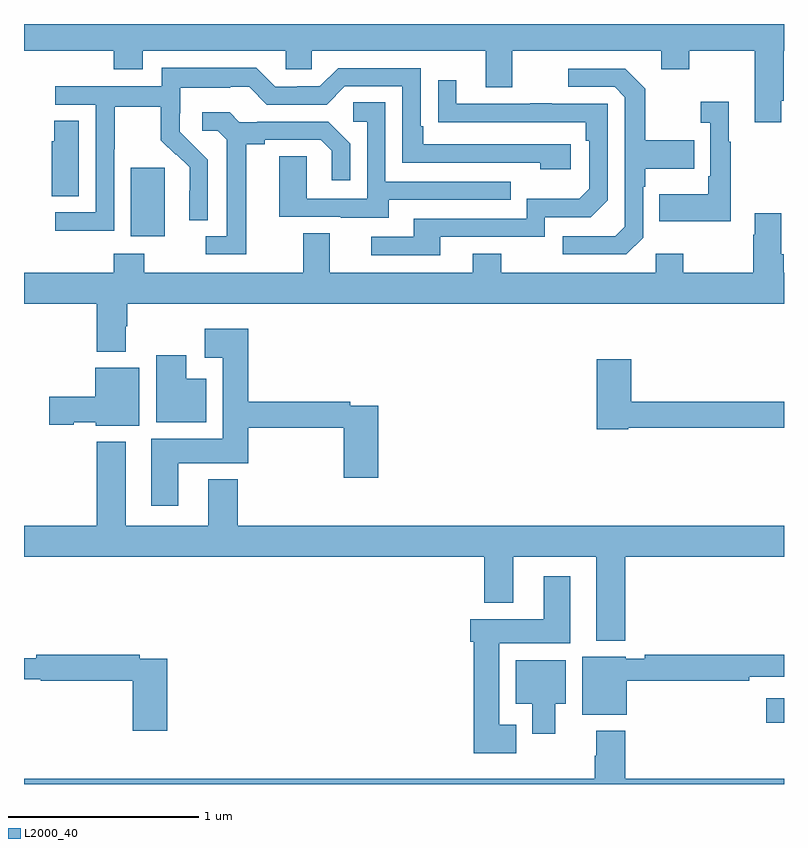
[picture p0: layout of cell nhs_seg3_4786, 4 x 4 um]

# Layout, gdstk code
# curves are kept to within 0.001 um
import gdstk
lib = gdstk.Library(unit=1e-6, precision=1e-09)
def R(c, l, rs):  # rectangles x0, y0, x1, y1
    for r in rs: c.add(gdstk.rectangle(r[:2], r[2:], *l))
def P(c, l, *ps):  # polygons
    for p in ps: c.add(gdstk.Polygon(p, *l))
L2000_40 = (2000, 40)

nhs_seg3_4786 = lib.new_cell('nhs_seg3_4786')
R(nhs_seg3_4786, L2000_40, [(372.906,686.722,373,686.851), (369.563,689.282,369.742,689.643)])
P(nhs_seg3_4786, L2000_40, [(372.985,689.995),(372.998,689.995),(372.998,690.26),(373,690.26),(373,690.4),(369,690.4),(369,690.26),(369.473,690.26),(369.473,690.161),(369.625,690.161),(369.625,690.26),(370.377,690.26),(370.377,690.162),(370.515,690.162),(370.515,690.26),(371.429,690.26),(371.429,690.066),(371.569,690.066),(371.569,690.26),(372.353,690.26),(372.353,690.161),(372.501,690.161),(372.501,690.26),(372.845,690.26),(372.845,689.883),(372.985,689.883)],
  [(369.474,689.74),(369.477,689.74),(369.477,689.964),(369.721,689.964),(369.721,689.789),(369.798,689.712),(369.801,689.715),(369.872,689.645),(369.872,689.522),(369.87,689.522),(369.87,689.368),(369.966,689.368),(369.966,689.686),(369.82,689.834),(369.82,689.931),(369.822,689.931),(369.822,690.065),(370.085,690.065),(370.085,690.069),(370.185,690.069),(370.278,689.976),(370.593,689.976),(370.689,690.072),(370.992,690.072),(370.992,689.67),(371.717,689.67),(371.717,689.636),(371.878,689.636),(371.878,689.766),(371.101,689.766),(371.101,689.863),(371.088,689.863),(371.088,690.168),(370.653,690.168),(370.557,690.072),(370.439,690.072),(370.439,690.069),(370.323,690.069),(370.223,690.169),(369.726,690.169),(369.726,690.072),(369.165,690.072),(369.165,689.976),(369.378,689.976),(369.378,689.409),(369.165,689.409),(369.165,689.311),(369.474,689.311)],
  [(372.258,689.274),(372.258,689.543),(372.271,689.543),(372.271,689.639),(372.527,689.639),(372.527,689.787),(372.271,689.787),(372.271,690.059),(372.165,690.165),(371.865,690.165),(371.865,690.069),(372.108,690.069),(372.162,690.015),(372.162,689.334),(372.111,689.283),(371.835,689.283),(371.835,689.187),(372.171,689.187)],
  [(371.191,689.28),(371.742,689.28),(371.742,689.382),(371.982,689.382),(372.072,689.472),(372.072,689.979),(371.777,689.979),(371.777,689.984),(371.665,689.984),(371.665,689.979),(371.275,689.979),(371.275,690.103),(371.179,690.103),(371.179,689.884),(371.956,689.883),(371.956,689.786),(371.976,689.786),(371.976,689.532),(371.923,689.479),(371.646,689.479),(371.646,689.376),(371.051,689.376),(371.051,689.28),(370.827,689.28),(370.827,689.184),(371.191,689.184)],
  [(372.721,689.779),(372.709,689.779),(372.709,689.992),(372.561,689.992),(372.561,689.879),(372.612,689.879),(372.612,689.599),(372.6,689.599),(372.6,689.503),(372.343,689.503),(372.343,689.363),(372.721,689.363)],
  [(370.921,689.475),(371.561,689.475),(371.561,689.571),(370.902,689.571),(370.902,689.987),(370.734,689.987),(370.734,689.886),(370.806,689.886),(370.806,689.481),(370.488,689.481),(370.488,689.705),(370.343,689.705),(370.343,689.385),(370.667,689.385),(370.667,689.381),(370.921,689.381)],
  [(370.171,689.768),(370.267,689.768),(370.267,689.79),(370.562,689.79),(370.619,689.733),(370.619,689.577),(370.716,689.577),(370.716,689.77),(370.6,689.886),(370.228,689.886),(370.228,689.883),(370.134,689.883),(370.082,689.935),(369.939,689.935),(369.939,689.838),(370.02,689.838),(370.067,689.791),(370.067,689.283),(369.957,689.283),(369.957,689.187),(370.171,689.187)],
  [(369.289,689.891),(369.158,689.891),(369.158,689.783),(369.146,689.783),(369.146,689.494),(369.289,689.494)],
  [(369.473,689.092),(369,689.092),(369,688.928),(369.383,688.928),(369.383,688.676),(369.535,688.676),(369.535,688.808),(369.543,688.808),(369.543,688.928),(373,688.928),(373,689.092),(372.998,689.092),(372.998,689.188),(372.985,689.188),(372.985,689.404),(372.845,689.404),(372.845,689.291),(372.838,689.291),(372.838,689.092),(372.471,689.092),(372.471,689.191),(372.324,689.191),(372.324,689.092),(371.511,689.092),(371.511,689.191),(371.363,689.191),(371.363,689.092),(370.609,689.092),(370.609,689.3),(370.469,689.3),(370.469,689.092),(369.633,689.092),(369.633,689.191),(369.473,689.191)],
  [(369.811,688.088),(370.181,688.088),(370.181,688.276),(370.682,688.276),(370.682,688.011),(370.865,688.011),(370.865,688.392),(370.718,688.392),(370.718,688.412),(370.181,688.412),(370.181,688.795),(369.951,688.795),(369.951,688.643),(370.046,688.643),(370.046,688.216),(369.671,688.216),(369.671,687.864),(369.811,687.864)],
  [(369.958,688.534),(369.853,688.534),(369.853,688.657),(369.695,688.657),(369.695,688.304),(369.958,688.304)],
  [(372.18,688.276),(373,688.276),(373,688.412),(372.197,688.412),(372.197,688.636),(372.014,688.636),(372.014,688.268),(372.18,688.268)],
  [(369.607,688.591),(369.374,688.591),(369.374,688.439),(369.132,688.439),(369.132,688.292),(369.261,688.292),(369.261,688.304),(369.378,688.304),(369.378,688.286),(369.607,688.286)],
  [(371.423,687.353),(371.575,687.353),(371.575,687.596),(372.011,687.596),(372.011,687.155),(372.164,687.155),(372.164,687.596),(373,687.596),(373,687.76),(370.124,687.76),(370.124,688.003),(369.971,688.003),(369.971,687.76),(369.535,687.76),(369.535,688.201),(369.383,688.201),(369.383,687.76),(369,687.76),(369,687.596),(371.423,687.596)],
  [(371.59,686.713),(371.5,686.713),(371.5,687.14),(371.875,687.14),(371.875,687.493),(371.735,687.493),(371.735,687.268),(371.348,687.268),(371.348,687.15),(371.366,687.15),(371.366,686.561),(371.59,686.561)],
  [(369.755,687.06),(369.608,687.06),(369.608,687.08),(369.064,687.08),(369.064,687.061),(369,687.061),(369,686.952),(369.088,686.952),(369.088,686.944),(369.572,686.944),(369.572,686.679),(369.755,686.679)],
  [(372.172,686.944),(372.818,686.944),(372.818,686.964),(373,686.964),(373,687.08),(372.268,687.08),(372.268,687.06),(372.168,687.06),(372.168,687.07),(371.939,687.07),(371.939,686.765),(372.172,686.765)],
  [(371.797,686.822),(371.851,686.822),(371.851,687.052),(371.588,687.052),(371.588,686.822),(371.675,686.822),(371.675,686.664),(371.797,686.664)],
  [(373,686.428),(372.164,686.428),(372.164,686.68),(372.011,686.68),(372.011,686.549),(372.004,686.549),(372.004,686.428),(369,686.428),(369,686.4),(373,686.4)])

lib.write_gds('nhs_seg3_4786.gds')
